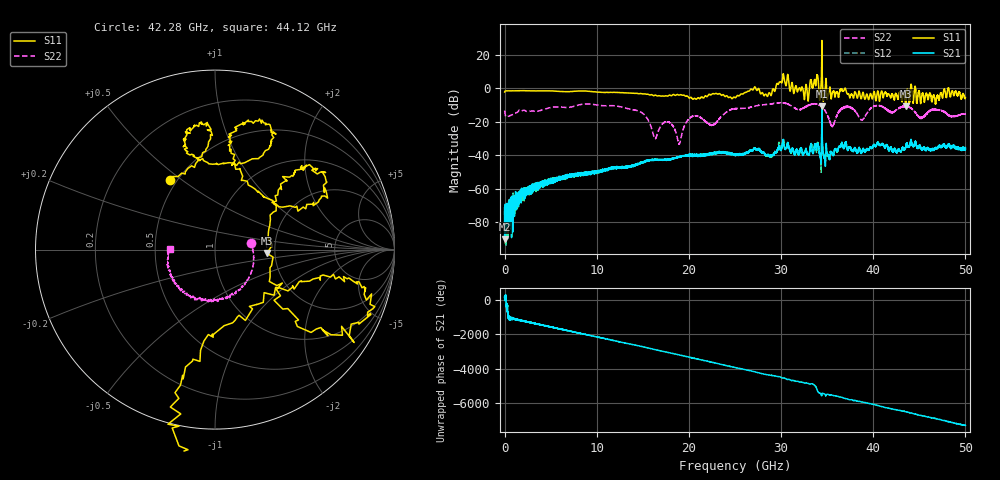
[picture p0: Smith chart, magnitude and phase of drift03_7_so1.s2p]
!Created with skrf (http://scikit-rf.org).
# Hz S RI R 50.0
!freq ReS11 ImS11 ReS21 ImS21 ReS12 ImS12 ReS22 ImS22
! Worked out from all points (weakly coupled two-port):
!   10000 points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, 5.3 MHz to 50 GHz, reference 50 ohm
!   highest |S21| = -10.64 dB at 34.43 GHz (marker M1); lowest = -90.4 dB at 15.3 MHz (marker M2)
!   lowest |S11| = -10.7 dB at 43.53 GHz (marker M3), VSWR 1.82, Z = 90.8 - j3.64 ohm
!   |S11| at or under -10 dB: 43.5093 GHz to 43.52462 GHz (15.32 MHz wide, 0.0352 % of centre); 43.52522 GHz to 43.53765 GHz (12.43 MHz wide, 0.0285 % of centre)
!   |S22| runs from -33.4 to -8.5 dB; largest |S21 - S12| = 0.094
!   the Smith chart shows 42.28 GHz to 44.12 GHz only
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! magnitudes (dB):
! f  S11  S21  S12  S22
! 5.3 MHz  -2.1  -71.6  -73.2  -13.3
! 15.3 MHz  -2.0  -90.4  -84.0  -13.6
! 3.145 GHz  -1.4  -58.8  -58.4  -13.5
! 8.34 GHz  -1.5  -50.4  -51.5  -9.5
! 14.51 GHz  -3.1  -45.3  -45.4  -13.5
! 16.67 GHz  -4.4  -42.9  -42.7  -25.8
! 17.81 GHz  -4.2  -42.5  -42.3  -20.2
! 18.96 GHz  -4.0  -41.1  -41.2  -33.3
! 20.27 GHz  -5.5  -39.4  -39.9  -17.0
! 22.57 GHz  -3.1  -39.3  -39.0  -21.8
! 25.01 GHz  -5.5  -39.5  -40.1  -12.1
! 28.72 GHz  -2.5  -40.5  -40.0  -9.3
! 30.14 GHz  4.3  -33.6  -33.9  -8.6
! 32.74 GHz  2.0  -37.0  -36.6  -10.7
! 33.34 GHz  2.5  -34.9  -35.0  -9.4
! 34.43 GHz  28.8  -10.6  -12.6  -10.9
! 35.55 GHz  -3.0  -39.0  -38.9  -22.4
! 37 GHz  -0.1  -32.4  -32.4  -10.9
! 38.75 GHz  -5.5  -38.3  -38.1  -18.9
! 41.67 GHz  -3.3  -37.1  -37.0  -13.5
! 43.53 GHz  -10.7  -34.8  -34.7  -10.7
! 50 GHz  -5.3  -35.9  -36.5  -15.5
